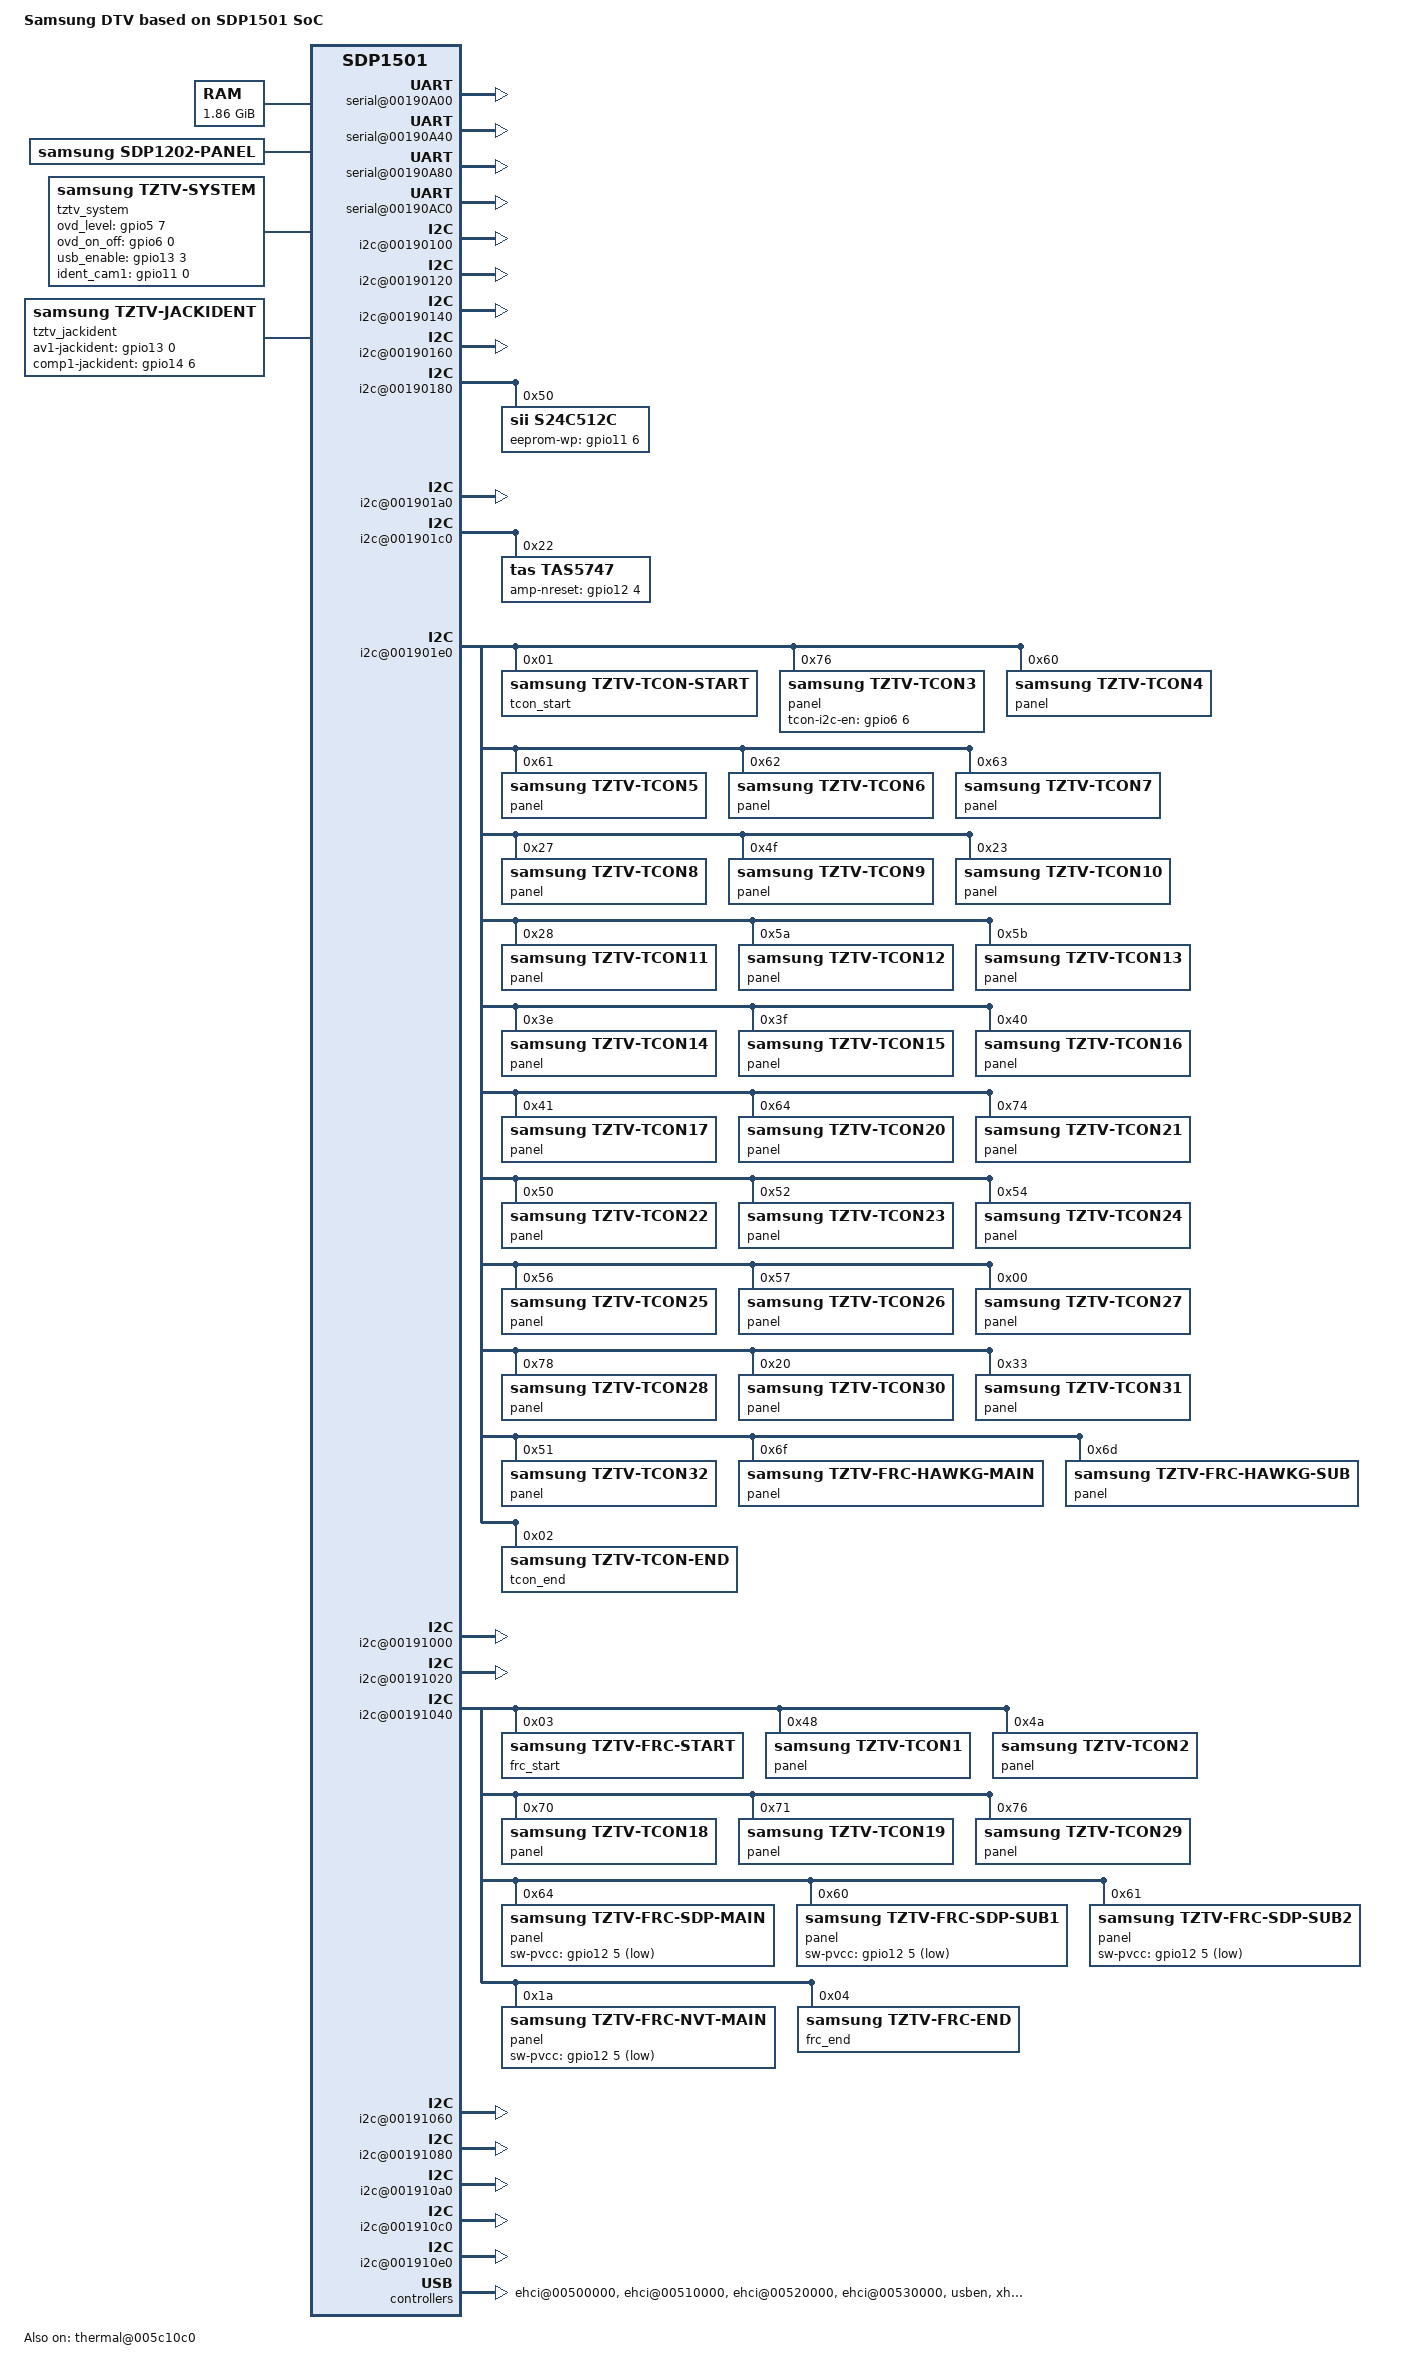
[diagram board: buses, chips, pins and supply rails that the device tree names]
/*
 * Copyright (C) 2014 Samsung Electronics Co.Ltd
 *
 * This program is free software; you can redistribute it and/or modify
 * it under the terms of the GNU General Public License version 2 as
 * published by the Free Software Foundation.
 */

/dts-v1/;
#include "sdp1501.dtsi"

/ {
	model = "Samsung DTV based on SDP1501 SoC";
	compatible = "samsung,dtv", "samsung,sdp1501", "samsung,sdp1501";

	memory {
		device_type = "memory";
		reg = <0x01000000 0x0FA00000>, <0x20000000 0x0B700000>, <0x45800000 0x0F200000>, <0x60000000 0x11700000>, <0x80000000 0x3B800000>;
	};

	chosen {
		/* BEWARE: DO_NOT_TOUCH___RESERVED_SPACE_50b _must_ be at the end of the
		 * cmdline, ALWAYS! This is the RULE!
		 *
		 * Violators will be shot!
		 * Survivors will be shot again!
		 * I am not kidding.
		 *                          -- roman.pen
		 */
		bootargs = __STR__(dtsversion=__DTS_VERSION__ root=/dev/mmcblk0p18 init=/sbin/init rootfstype=vdfs RO_PARAM console=ttyS0,115200N8 SELP_ENABLE=00000000 rootwait no_console_suspend earlyprintk sdp_sparsemem vmalloc=550M QUIET_PARAM TRACING_PARAM ROOT_PARAM DO_NOT_TOUCH___RESERVED_SPACE_50b);

		boot-modes = <&shift_s_mode>, <&normal_trace_mode>, <&shift_s_trace_mode>;
	};

	fixed-rate-clocks {
		fin {
			compatible = "samsung,sdp-clock-fin";
			clock-frequency = <24576000>;
		};
	};

	mmc {
		ddr50;
	};

	serial@00190A00 {
		status = "okay";
	};

	serial@00190A40 {
		status = "okay";
	};

	serial@00190A80 {
		status = "okay";
	};

	serial@00190AC0 {
		compatible = "samsung,sdp1304-uart-micom";
		status = "okay";
	};

	pinctrl{
		compatible = "samsung,sdp-pinctrl";
		reg = <0x005C1000 0x230>;
		start-offset = <0x118>;
		nr-banks = <23>;
		model-sel = <1>;
	};

	i2c@00190100 {
		status = "okay";
		samsung,i2c-sda-delay = <1>;
		samsung,i2c-max-bus-freq = <400000>;
		samsung,i2c-irq-status-reg = <0x001901f4>;
		samsung,i2c-cpu-affinity = <3>;
	};

	i2c@00190120 {
		status = "okay";
		samsung,i2c-sda-delay = <1>;
		samsung,i2c-max-bus-freq = <400000>;
		samsung,i2c-irq-status-reg = <0x001901f4>;
		samsung,i2c-cpu-affinity = <3>;
	};

	i2c@00190140 {
		status = "okay";
		samsung,i2c-sda-delay = <1>;
		samsung,i2c-max-bus-freq = <400000>;
		samsung,i2c-irq-status-reg = <0x001901f4>;
		samsung,i2c-cpu-affinity = <3>;
	};

	i2c@00190160 {
		status = "okay";
		samsung,i2c-sda-delay = <1>;
		samsung,i2c-max-bus-freq = <400000>;
		samsung,i2c-irq-status-reg = <0x001901f4>;
		samsung,i2c-cpu-affinity = <3>;
	};

	i2c@00190180 {
		status = "okay";
		samsung,i2c-sda-delay = <1>;
		samsung,i2c-max-bus-freq = <400000>;
		samsung,i2c-irq-status-reg = <0x001901f4>;
		samsung,i2c-cpu-affinity = <3>;
                s24c512c@50 {
                        compatible = "sii,s24c512c";
                        reg = <0x50>;
                        samsung,eeprom-wp = <&gpio11 6 0>;
                };
	};

	i2c@001901a0 {
		status = "okay";
		samsung,i2c-sda-delay = <1>;
		samsung,i2c-max-bus-freq = <400000>;
		samsung,i2c-irq-status-reg = <0x001901f4>;
		samsung,i2c-cpu-affinity = <3>;
	};

	i2c@001901c0 {
		status = "okay";
		samsung,i2c-sda-delay = <1>;
		samsung,i2c-max-bus-freq = <400000>;
		samsung,i2c-irq-status-reg = <0x001901f4>;
		samsung,i2c-cpu-affinity = <3>;

		tas5747@22 {
			compatible = "tas,tas5747";
			samsung,amp-nreset = <&gpio12 4 0>;
			reg = <0x22>;
			amp_jazz_p {
				amp_tw_bus = <6>;
				amp_tw_slave_addr = <0x54>;
				amp_wf_bus = <6>;
				amp_wf_slave_addr = <0x56>;
				amp_bt_bus = <0>;
				amp_bt_slave_addr = <0>;
				amp_tp_bus = <0>;
				amp_tp_slave_addr = <0>;
			};

			amp_jazz_m {
			    amp_tw_bus = <6>;
			    amp_tw_slave_addr = <0x54>;
			    amp_wf_bus = <6>;
			    amp_wf_slave_addr = <0x56>;
			    amp_bt_bus = <0>;
			    amp_bt_slave_addr = <0>;
			    amp_tp_bus = <0>;
			    amp_tp_slave_addr = <0>;
			};

		    amp_jazz_l {
	    		amp_tw_bus = <6>;
	    		amp_tw_slave_addr = <0x54>;
	    		amp_wf_bus = <6>;
	    		amp_wf_slave_addr = <0x56>;
	    		amp_bt_bus = <0>;
	    		amp_bt_slave_addr = <0>;
	    		amp_tp_bus = <0>;
	    		amp_tp_slave_addr = <0>;
			};

			amp_hawk_p {
			    amp_tw_bus = <7>;
			    amp_tw_slave_addr = <0x54>;
			    amp_wf_bus = <7>;
			    amp_wf_slave_addr = <0x56>;
			    amp_bt_bus = <8>;
			    amp_bt_slave_addr = <0x54>;
			    amp_tp_bus = <8>;
			    amp_tp_slave_addr = <0x56>;
			};

			amp_hawk_m {
	    		amp_tw_bus = <6>;
			    amp_tw_slave_addr = <0x54>;
			    amp_wf_bus = <6>;
			    amp_wf_slave_addr = <0x56>;
	    		amp_bt_bus = <6>;
	    		amp_bt_slave_addr = <0x54>;
	    		amp_tp_bus = <6>;
	    		amp_tp_slave_addr = <0x56>;
			};

			amp_golf_8500 {
				amp_tw_bus = <7>;
				amp_tw_slave_addr = <0x44>;
				amp_wf_bus = <7>;
				amp_wf_slave_addr = <0x46>;
				amp_bt_bus = <8>;
				amp_bt_slave_addr = <0x46>;
				amp_tp_bus = <8>;
				amp_tp_slave_addr = <0x44>;
			};

			amp_golf_9000 {
				amp_tw_bus = <7>;
				amp_tw_slave_addr = <0x44>;
				amp_wf_bus = <7>;
				amp_wf_slave_addr = <0x46>;
				amp_bt_bus = <8>;
				amp_bt_slave_addr = <0x46>;
				amp_tp_bus = <8>;
				amp_tp_slave_addr = <0x44>;
			};
			
			amp_golf_sbb {
				amp_tw_bus = <6>;
				amp_tw_slave_addr = <0x44>;
				amp_wf_bus = <6>;
				amp_wf_slave_addr = <0x46>;
				amp_bt_bus = <7>;
				amp_bt_slave_addr = <0x46>;
				amp_tp_bus = <7>;
				amp_tp_slave_addr = <0x44>;
			};

			amp_fox_sbb {
				amp_tw_bus = <6>;
				amp_tw_slave_addr = <0x54>;
				amp_wf_bus = <6>;
				amp_wf_slave_addr = <0x56>;
				amp_bt_bus = <6>;
				amp_bt_slave_addr = <0x54>;
				amp_tp_bus = <6>;
				amp_tp_slave_addr = <0x56>;
			};

			amp_echo_sbb {
				amp_tw_bus = <3>;
				amp_tw_slave_addr = <0x44>;
				amp_wf_bus = <3>;
				amp_wf_slave_addr = <0x46>;
				amp_bt_bus = <3>;
				amp_bt_slave_addr = <0x44>;
				amp_tp_bus = <3>;
				amp_tp_slave_addr = <0x46>;
			};
		};
	};

	i2c@001901e0 {
		status = "okay";
		samsung,i2c-sda-delay = <1>;
		samsung,i2c-max-bus-freq = <400000>;
		samsung,i2c-irq-status-reg = <0x001901f4>;
		samsung,i2c-cpu-affinity = <3>;

		tcon_start@01 {
			compatible = "samsung,tztv-tcon-start";
			/* don't use reg bellow */
			/* dummy reg : 0x01, 0x02, 0x03, 0x04 */
			reg = <0x01>;
		};

		/* panel 0xEC */
		panel@76 {
			compatible = "samsung,tztv-tcon3";
			samsung,tcon-i2c-en = <&gpio6 6 0>;
			reg = <0x76>;
		};

		/* panel 0xC0 */
		panel@60 {
			compatible = "samsung,tztv-tcon4";
			reg = <0x60>;
		};

		/* panel 0xC2 */
		panel@61 {
			compatible = "samsung,tztv-tcon5";
			reg = <0x61>;
		};

		/* panel 0xC4 */
		panel@62 {
			compatible = "samsung,tztv-tcon6";
			reg = <0x62>;
		};

		/* panel 0xC6 */
		panel@63 {
			compatible = "samsung,tztv-tcon7";
			reg = <0x63>;
		};

		/* panel 0x4E */
		panel@27 {
			compatible = "samsung,tztv-tcon8";
			reg = <0x27>;
		};

		/* panel 0x9E */
		panel@4F {
			compatible = "samsung,tztv-tcon9";
			reg = <0x4F>;
		};

		/* panel 0x46 */
		panel@23 {
			compatible = "samsung,tztv-tcon10";
			reg = <0x23>;
		};

		/* panel 0x50 */
		panel@28 {
			compatible = "samsung,tztv-tcon11";
			reg = <0x28>;
		};

		/* panel 0xB4 */
		panel@5A {
			compatible = "samsung,tztv-tcon12";
			reg = <0x5A>;
		};

		/* panel 0xB6 */
		panel@5B {
			compatible = "samsung,tztv-tcon13";
			reg = <0x5B>;
		};

		/* panel 0x7C */
		panel@3E {
			compatible = "samsung,tztv-tcon14";
			reg = <0x3E>;
		};

		/* panel 0x7E */
		panel@3F {
			compatible = "samsung,tztv-tcon15";
			reg = <0x3F>;
		};

		/* panel 0x80 */
		panel@40 {
			compatible = "samsung,tztv-tcon16";
			reg = <0x40>;
		};

		/* panel 0x82 */
		panel@41 {
			compatible = "samsung,tztv-tcon17";
			reg = <0x41>;
		};

		/* panel 0xC8 */
		panel@64 {
			compatible = "samsung,tztv-tcon20";
			reg = <0x64>;
		};

		/* panel 0xE8 */
		panel@74 {
			compatible = "samsung,tztv-tcon21";
			reg = <0x74>;
		};

		/* panel 0xA0 */
		panel@50 {
			compatible = "samsung,tztv-tcon22";
			reg = <0x50>;
		};

		/* panel 0xA4 */
		panel@52 {
			compatible = "samsung,tztv-tcon23";
			reg = <0x52>;
		};

		/* panel 0xA8 */
		panel@54 {
			compatible = "samsung,tztv-tcon24";
			reg = <0x54>;
		};

		/* panel 0xAC */
		panel@56 {
			compatible = "samsung,tztv-tcon25";
			reg = <0x56>;
		};

		/* panel 0xAE */
		panel@57 {
			compatible = "samsung,tztv-tcon26";
			reg = <0x57>;
		};

		/* panel 0x00 */
		panel@00 {
			compatible = "samsung,tztv-tcon27";
			reg = <0x00>;
		};

		/* panel 0xF0 */
		panel@78 {
			compatible = "samsung,tztv-tcon28";
			reg = <0x78>;
		};

		/* panel 0x40 */
		panel@20 {
			compatible = "samsung,tztv-tcon30";
			reg = <0x20>;
		};

		/* panel 0x66 */
		panel@33 {
			compatible = "samsung,tztv-tcon31";
			reg = <0x33>;
		};

		/* panel 0xA2 */
		panel@51 {
			compatible = "samsung,tztv-tcon32";
			reg = <0x51>;
		};

		/* panel 0xDE */
		panel@6F {
			compatible = "samsung,tztv-frc-hawkg-main";
			reg = <0x6F>;
		};

		/* panel 0xDA */
		panel@6D {
			compatible = "samsung,tztv-frc-hawkg-sub";
			reg = <0x6D>;
		};

		tcon_end@02 {
			compatible = "samsung,tztv-tcon-end";
			/* don't use reg bellow */
			/* dummy reg : 0x01, 0x02, 0x03, 0x04 */
			reg = <0x02>;
		};
	};

	i2c@00191000 {
		status = "okay";
		samsung,i2c-sda-delay = <1>;
		samsung,i2c-max-bus-freq = <400000>;
		samsung,i2c-irq-status-reg = <0x001910f4>;
		samsung,i2c-cpu-affinity = <3>;
	};

	i2c@00191020 {
		status = "okay";
		samsung,i2c-sda-delay = <1>;
		samsung,i2c-max-bus-freq = <400000>;
		samsung,i2c-irq-status-reg = <0x001910f4>;
		samsung,i2c-pad-enable = <0x005C1040 0x800000>;
		samsung,i2c-cpu-affinity = <3>;
	};

	i2c@00191040 {
		status = "okay";
		samsung,i2c-sda-delay = <1>;
		samsung,i2c-max-bus-freq = <400000>;
		samsung,i2c-irq-status-reg = <0x001910f4>;
	//	samsung,i2c-pad-enable = <0x10030000 0x80000000>;// Mux HS
		samsung,i2c-cpu-affinity = <3>;

		frc_start@03 {
			compatible = "samsung,tztv-frc-start";
			/* don't use reg bellow */
			/* dummy reg : 0x01, 0x02, 0x03, 0x04 */
			reg = <0x03>;
		};

		/* panel 0x90 */
		panel@48 {
			compatible = "samsung,tztv-tcon1";
			reg = <0x48>;
		};

		/* panel 0x94 */
		panel@4A {
			compatible = "samsung,tztv-tcon2";
			reg = <0x4A>;
		};

		/* panel 0xE0 */
		panel@70 {
			compatible = "samsung,tztv-tcon18";
			reg = <0x70>;
		};

		/* panel 0xE2 */
		panel@71 {
			compatible = "samsung,tztv-tcon19";
			reg = <0x71>;
		};

		/* panel 0xEC DUAL */
		panel@76 {
			compatible = "samsung,tztv-tcon29";
			reg = <0x76>;
		};

		/* panel C8 */
		panel@64 {
			compatible = "samsung,tztv-frc-sdp-main";
			samsung,sw-pvcc = <&gpio12 5 1>;
			reg = <0x64>;
		};

		/* panel C0 SUB */
		panel@60 {
			compatible = "samsung,tztv-frc-sdp-sub1";
			samsung,sw-pvcc = <&gpio12 5 1>;
			reg = <0x60>;
		};

		/* panel C2 SUB */
		panel@61 {
			compatible = "samsung,tztv-frc-sdp-sub2";
			samsung,sw-pvcc = <&gpio12 5 1>;
			 reg = <0x61>;
		};

		/* panel 34 */
		panel@1A {
			compatible = "samsung,tztv-frc-nvt-main";
			samsung,sw-pvcc = <&gpio12 5 1>;
			 reg = <0x1A>;
		};

		frc_end@04 {
			compatible = "samsung,tztv-frc-end";
			/* don't use reg bellow */
			/* dummy reg : 0x01, 0x02, 0x03, 0x04 */
			reg = <0x04>;
		};
	};

	i2c@00191060 {
		status = "okay";
		samsung,i2c-sda-delay = <1>;
		samsung,i2c-max-bus-freq = <400000>;
		samsung,i2c-irq-status-reg = <0x001910f4>;
		samsung,i2c-pad-enable = <0x005C1040 0x1000000>;
		samsung,i2c-cpu-affinity = <3>;
	};

	i2c@00191080 {
		status = "okay";
		samsung,i2c-sda-delay = <1>;
		samsung,i2c-max-bus-freq = <200000>;
		samsung,i2c-irq-status-reg = <0x001910f4>;
		samsung,i2c-pad-enable = <0x005C1040 0x2000000>;
		samsung,i2c-cpu-affinity = <3>;
	};

	i2c@001910a0 {
		status = "okay";
		samsung,i2c-sda-delay = <1>;
		samsung,i2c-max-bus-freq = <400000>;
		samsung,i2c-irq-status-reg = <0x001910f4>;
		samsung,i2c-cpu-affinity = <3>;
	};

	i2c@001910c0 {
		status = "okay";
		samsung,i2c-sda-delay = <1>;
		samsung,i2c-max-bus-freq = <400000>;
		samsung,i2c-irq-status-reg = <0x001910f4>;
		samsung,i2c-pad-enable = <0x005C1044 0x8000000>;
		samsung,i2c-cpu-affinity = <3>;
	};

	i2c@001910e0 {
		status = "okay";
		samsung,i2c-sda-delay = <1>;
		samsung,i2c-max-bus-freq = <400000>;
		samsung,i2c-irq-status-reg = <0x001910f4>;
		samsung,i2c-pad-enable = <0x005C1044 0x10000000>;
		samsung,i2c-cpu-affinity = <3>;

	};

	panel: panel {
		compatible = "samsung,sdp1202-panel";

	};

	dummy_panel {
		compatible = "dummy_panel";

		panel = <&panel>;

		display-timings {
			native-mode = <&timing0>;

			timing0: timing-0 {
				 clock-frequency = <0>;
				 hactive = <1920>;
				 vactive = <1080>;
				 hfront-porch = <0>;
				 hback-porch = <0>;
				 hsync-len = <0>;
				 vfront-porch = <0>;
				 vback-porch = <0>;
				 vsync-len = <0>;
			};
		};
	};

	ehci@00500000 {
		status = "okay";
	/*	samsung,sw-reset = <0x005C0000 0xE4 0x1000>;
		samsung,ehci-gpr_reg = <0x00540000 0x04 0x7000>;
		samsung,ehci-gpr_reg1 = <0x00540000 0x0C 0x100C0>;
		samsung,sw-reset-release = <0x005C0000 0xE4 0x1000>;*/
	};

        ehci@00510000 {
		status = "okay";
	/*	samsung,sw-reset = <0x005C0000 0xE4 0x2000>;
		samsung,ehci-gpr_reg = <0x00540000 0x18 0x7000>;
		samsung,ehci-gpr_reg1 = <0x00540000 0x20 0x100C0>;
		samsung,sw-reset-release = <0x005C0000 0xE4 0x2000>;*/
	};

	ehci@00520000 {
		status = "okay";
	/*	samsung,sw-reset = <0x005C0000 0xE4 0x4000>;
		samsung,ehci-gpr_reg = <0x00540000 0x2c 0x7000>;
		samsung,ehci-gpr_reg1 = <0x00540000 0x34 0x100C0>;
		samsung,sw-reset-release = <0x005C0000 0xE4 0x4000>;*/
	};

	ehci@00530000 {
		status = "okay";
	/*	samsung,sw-reset = <0x005C0000 0xE4 0x8000>;
		samsung,ehci-gpr_reg = <0x00540000 0x40 0x7000>;
		samsung,ehci-gpr_reg1 = <0x00540000 0x48 0x100C0>;
		samsung,sw-reset-release = <0x005C0000 0xE4 0x8000>;*/
	};

	usben {
		status = "okay";
		samsung,usb-enable = <&gpio13 3 0>;
	};

	xhci@00400000 {
		status = "okay";
	};


	ohci@00508000 {
		status = "okay";
	};

	ohci@00518000 {
		status = "okay";
	};

	ohci@00528000 {
		status = "okay";
	};

	ohci@00538000 {
		status = "okay";
	};

	thermal@005c10c0 {
		status = "okay";
		compatible = "samsung,sdp-thermal";

		reg = <0x005c10c0 0x30>;

		sensor_id = <0>;

		start_cold_throttle	= <40>;
		stop_cold_throttle	= <45>;
		stop_1st_throttle	= <102>;
		start_1st_throttle	= <110>;
		stop_2nd_throttle	= <112>;
		start_2nd_throttle	= <118>;
		stop_3rd_throttle	= <120>;
		start_3rd_throttle	= <125>;
		start_3rd_hotplug	= <130>;

		cpu_limit_1st_throttle	= <1000000>;
		cpu_limit_2nd_throttle	= <700000>;
		cpu_limit_3rd_throttle	= <100000>;

		gpu_limit_1st_throttle	= <185000>;
		gpu_limit_2nd_throttle	= <185000>;
		gpu_limit_3rd_throttle	= <185000>;

		log_file_path = "/tmp/ThermalThrottle.txt";
	};

	sdp_mfc@0x00a40000 {
		samsung,bus-mode = "2bus-a";
		samsung,fw-name = "sdp_mfc/ucode-mfc.fw";
		samsung,fw-size = <0x200000>;
		xmif_a_reg = <0x00F10700>;
		xmif_b_reg = <0x00F20700>;
		xmif_c_reg = <0x00F30700>;
		xmif_d_reg = <0x00F40700>;
	};

	sdp_hen@0x00ac0000 {
		samsung,fw-name = "sdp_hen/ucode-hen.fw";
		samsung,fw-size = <0x100000>;
		xmif_a_reg = <0x00F10700>;
		xmif_b_reg = <0x00F20700>;
		xmif_c_reg = <0x00F30700>;
		xmif_d_reg = <0x00F40700>;
	};

	sdp_dvde@009c0000 {
		samsung,fw-name = "sdp_hevc/ucode-hevc.fw";
		samsung,fw-size = <0x200000>;
	};

	dvb {
		compatible = "samsung,sdp-dvb";
	};

	tztv_tuner {
		compatible = "samsung,tztv-tuner";
		tuner-list-atsc = <&tuner_list_atsc>;
		tuner-list-dvb = <&tuner_list_dvb>;
		tuner-list-isdb = <&tuner_list_isdb>;
		tuner-list-ew = <&tuner_list_ew>;
		tuner-list-cn = <&tuner_list_cn>;

		tuner_i2c_bus = <11>;
		tuner_reset_gpio = <0x0D04>;
		lnb_slave_addr = <0x10>;
		
		tuner_list_atsc:tuner-list-atsc {};
		tuner_list_dvb:tuner-list-dvb {};
		tuner_list_isdb:tuner-list-isdb {};
		tuner_list_ew:tuner-list-ew {};
		tuner_list_cn:tuner-list-cn {};
	};

	tztv_kfactory {
		compatible = "samsung,tztv-kfactory";
	};

	tztv_system {
		compatible = "samsung,tztv-system";
		samsung,ovd_level = <&gpio5 7 0>;
		samsung,ovd_on_off = <&gpio6 0 0>;
		samsung,usb_enable = <&gpio13 3 0>;
		samsung,ident_cam1 = <&gpio11  0>;
	};

	tztv_jackident {
		compatible = "samsung,tztv-jackident";
		samsung,av1-jackident = <&gpio13 0 0>;
		samsung,comp1-jackident = <&gpio14 6 0>;
	};

	tps54627@7b {
		compatible = "regulator-sdpmicom";

		regulator-name = "CPU_PW";
		regulator-min-microvolt = <1023734>;
		regulator-max-microvolt = <1152600>;
		regulator-always-on;
		regulator-boot-on;

		nr-gpios = <2>;
		default-state = <0>;
		cmd-addr = <0x7b>;
		states = <1023734 3
			1053081 2
			1101280 1
			1152600 0>;
	};

	aoz1267@7a {
		compatible = "regulator-sdpmicom";

		regulator-name = "CORE_PW";
		regulator-min-microvolt = <1025297>;
		regulator-max-microvolt = <1153333>;
		regulator-always-on;
		regulator-boot-on;

		nr-gpios = <2>;
		default-state = <0>;
		cmd-addr = <0x7a>;
		states = <1025297 3
			1051002 2
			1104439 1
			1153333 0>;
	};

	sdp_mmap {
		compatible = "samsung,sdp-mmap";

		/* DDR A */
		dram-base-a = <0x01000000 0x1F000000>;
		samsung,kernel0 = <0x0 0x1000000 0xFA00000>;
		samsung,se-tz = <0x0 0x10A00000 0x200000>;
		samsung,mfc-a = <0x0 0x10C00000 0xC000000>;
		samsung,dp-ttx-vbi = <0x0 0x1CC00000 0x40000>;
		samsung,avd = <0x0 0x1CC40000 0x600000>;
		samsung,tsd = <0x0 0x1D240000 0x300000>;
		samsung,pvr = <0x0 0x1D540000 0xE00000>;
		samsung,hcas = <0x0 0x1E340000 0x100000>;
		samsung,chdec = <0x0 0x1E440000 0x880000>;
		samsung,3dfy = <0x0 0x1ECC0000 0x1200000>;
		samsung,align0 = <0x0 0x1FEC0000 0x40000>;
		samsung,str = <0x0 0x1FF00000 0x100000>;

		/* DDR B */
		dram-base-b = <0x20000000 0x20000000>;
		samsung,kernel1 = <0x0 0x20000000 0xB700000>;
		samsung,mfc-b = <0x0 0x2B700000 0x10A00000>;
		samsung,gfx0 = <0x0 0x3C100000 0x1000000>;
		samsung,gfx1 = <0x0 0x3D100000 0x1000000>;
		samsung,cursor = <0x0 0x3E100000 0x180000>;
		samsung,3dc = <0x0 0x3E280000 0x0>;
		samsung,gdc = <0x0 0x3E280000 0x0>;
		samsung,demura = <0x0 0x3E280000 0x1D00000>;
		samsung,emergency_log = <0x0 0x3FF80000 0x40000>;
		samsung,align1 = <0x0 0x3FFC0000 0x40000>;
		
		/* DDR C */
		dram-base-c = <0x40000000 0x20000000>;
		samsung,trust-zone = <0x0 0x40000000 0x4000000>;
		samsung,trust-zone-shared = <0x0 0x44000000 0x500000>;
		samsung,trust-zone-data = <0x0 0x44500000 0x0>;
		samsung,ae0 = <0x0 0x44500000 0x1200000>;
		samsung,align3 = <0x0 0x45700000 0x100000>;
		samsung,kernel2 = <0x0 0x45800000 0xF200000>;
		samsung,hen-a = <0x0 0x54A00000 0x700000>;
		samsung,dp-enc = <0x0 0x55100000 0x680000>;
		samsung,dp0 = <0x0 0x55780000 0x5400000>;
		samsung,dp2 = <0x0 0x5AB80000 0x5400000>;
		samsung,align2 = <0x0 0x5FF80000 0x80000>;

		/* DDR D */
		dram-base-d = <0x60000000 0x20000000>;
		samsung,kernel3 = <0x0 0x60000000 0x11700000>;
		samsung,hen-b = <0x0 0x71700000 0x380000>;
		samsung,dp1 = <0x0 0x71A80000 0x5C00000>;
		samsung,dp3 = <0x0 0x77680000 0x5C00000>;
		samsung,memcmap = <0x0 0x7D280000 0x2D00000>;
		samsung,align4 = <0x0 0x7FF80000 0x80000>;

		/* DDR E */
		dram-base-e = <0x80000000 0x40000000>;
		samsung,kernel4 = <0x0 0x80000000 0x3B800000>;
		samsung,memcy = <0x0 0xBB800000 0x1200000>;
		samsung,memcc = <0x0 0xBCA00000 0x1200000>;
		samsung,3dfc = <0x0 0xBDC00000 0x1200000>;
		samsung,dp-cw-y = <0x0 0xBEE00000 0x400000>;
		samsung,dp-cw-c = <0x0 0xBF200000 0x180000>;
		samsung,dp-vt-y = <0x0 0xBF380000 0x800000>;
		samsung,dp-vt-c = <0x0 0xBFB80000 0x400000>;
		samsung,align5 = <0x0 0xBFF80000 0x80000>;

	};

	tztv_bootmode@B {
		compatible = "tztv-bootmode";
		reg = <0xB>;
		communication-mode = "reg";
		ew-select = <0x00800584>;
	};
};
/include/ "tuner_2016.dtsi"
